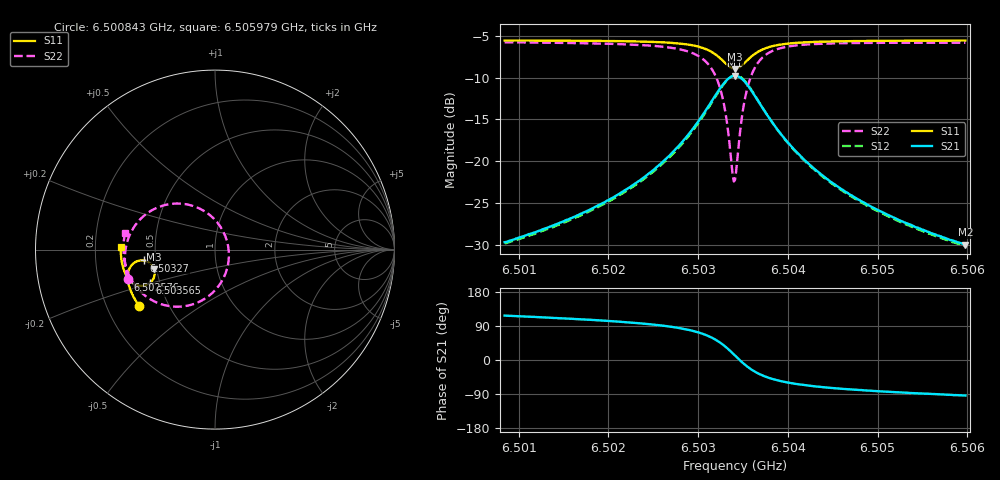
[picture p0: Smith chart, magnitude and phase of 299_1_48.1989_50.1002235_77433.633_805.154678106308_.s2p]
#  HZ  S  RI  R  50.00
! Rohde & Schwarz Vector Network Analyzer
! Rohde-Schwarz,ZNB20-2Port,1311601062101988,3.16
! Created: UTC 3/20/2024, 11:49:23 AM
! freq[Hz]  re:S11  im:S11  re:S21  im:S21  re:S12  im:S12  re:S22  im:S22
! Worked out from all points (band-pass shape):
!   401 points, 6.500843 GHz to 6.505979 GHz, reference 50 ohm
!   highest |S21| = -9.79 dB at 6.503411 GHz (marker M1); lowest = -30.0 dB at 6.505979 GHz (marker M2)
!   |S21| within 3 dB of the highest: 6.503153 GHz to 6.503668 GHz (514.2 kHz wide, 0.00791 % of centre)
!   lowest |S11| = -9.0 dB at 6.503411 GHz (marker M3), VSWR 2.11, Z = 24.2 - j6.07 ohm
!   |S11| at or under -10 dB: nowhere
!   |S22| runs from -22.4 to -5.8 dB; largest |S21 - S12| = 0.011
!   S11 on the Smith chart (normalised r, x): 6.500843 GHz: 0.34, -0.30; 6.502576 GHz: 0.33, -0.15; 6.50327 GHz: 0.43, -0.06; 6.503565 GHz: 0.44, -0.20; 6.505979 GHz: 0.31, +0.01
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6.5008429e9  -0.4212 -0.3161  -0.0151 0.0292  -0.0133 0.0294  -0.4867 -0.1637
6.5017031e9  -0.4589 -0.2535  -0.0143 0.0466  -0.0121 0.0463  -0.5016 -0.074
6.5022167e9  -0.4772 -0.2081  -0.0114 0.068  -0.00819 0.0667  -0.4986 -0.00152
6.5025634e9  -0.4857 -0.17  -0.003 0.0947  0.000667 0.0925  -0.4812 0.0669
6.5025762e9  -0.4857 -0.1685  -0.00242 0.096  0.00112 0.0937  -0.4798 0.0702
6.5028202e9  -0.485 -0.1333  0.0158 0.1289  0.0196 0.1253  -0.4415 0.1397
6.503e9  -0.4737 -0.1001  0.0504 0.1649  0.0534 0.1597  -0.3734 0.2056
6.5031669e9  -0.4392 -0.0672  0.1276 0.198  0.1288 0.1917  -0.2317 0.2558
6.5032696e9  -0.3968 -0.0604  0.2124 0.189  0.2126 0.1838  -0.0843 0.2278
6.5033209e9  -0.3715 -0.069  0.2603 0.1612  0.261 0.1565  -0.0047 0.1706
6.5033851e9  -0.3452 -0.0952  0.3074 0.0982  0.3098 0.0933  0.0661 0.0494
6.5034108e9  -0.3389 -0.1095  0.3173 0.0664  0.3204 0.0607  0.0767 -0.00972
6.5034237e9  -0.3369 -0.1172  0.32 0.0498  0.3231 0.0436  0.0774 -0.0402
6.5035007e9  -0.3429 -0.1614  0.303 -0.0435  0.305 -0.0531  0.0199 -0.2033
6.5035649e9  -0.3639 -0.1868  0.2608 -0.0969  0.2597 -0.1078  -0.0754 -0.2846
6.5036676e9  -0.403 -0.2018  0.1873 -0.1326  0.1822 -0.1417  -0.223 -0.3179
6.5038345e9  -0.4485 -0.192  0.1071 -0.1296  0.1001 -0.1345  -0.3676 -0.2719
6.5040143e9  -0.4755 -0.1707  0.063 -0.11  0.0571 -0.1122  -0.4388 -0.208
6.5042711e9  -0.4961 -0.1407  0.0336 -0.0861  0.0288 -0.0866  -0.4817 -0.1364
6.5046563e9  -0.5117 -0.101  0.0147 -0.0635  0.0116 -0.063  -0.5039 -0.062
6.5051313e9  -0.5211 -0.0574  0.00499 -0.0472  0.00272 -0.0465  -0.5098 0.00359
6.5059788e9  -0.5259 0.014  -0.00202 -0.0317  -0.00339 -0.0309  -0.5017 0.0921
